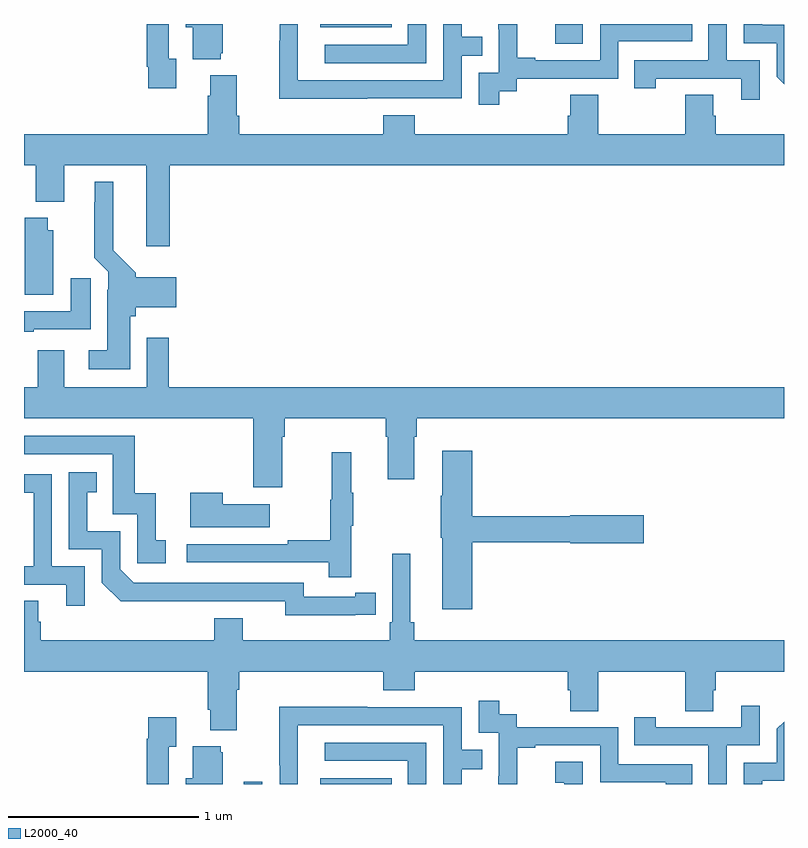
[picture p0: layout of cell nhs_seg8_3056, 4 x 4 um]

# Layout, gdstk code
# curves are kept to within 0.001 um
import gdstk
lib = gdstk.Library(unit=1e-6, precision=1e-09)
def R(c, l, rs):  # rectangles x0, y0, x1, y1
    for r in rs: c.add(gdstk.rectangle(r[:2], r[2:], *l))
def P(c, l, *ps):  # polygons
    for p in ps: c.add(gdstk.Polygon(p, *l))
L2000_40 = (2000, 40)

nhs_seg8_3056 = lib.new_cell('nhs_seg8_3056')
R(nhs_seg8_3056, L2000_40, [(302.157,1123.9,302.253,1123.912), (302.558,1123.9,302.936,1123.93), (303.795,1127.796,303.942,1127.9), (302.558,1127.882,302.936,1127.9)])
P(nhs_seg8_3056, L2000_40, [(305,1127.895),(304.885,1127.895),(304.885,1127.9),(304.788,1127.9),(304.788,1127.799),(304.962,1127.799),(304.962,1127.622),(305,1127.584)],
  [(303.117,1127.9),(303.021,1127.9),(303.021,1127.79),(302.583,1127.79),(302.583,1127.694),(303.117,1127.694)],
  [(302.036,1127.745),(302.047,1127.745),(302.047,1127.9),(301.85,1127.9),(301.85,1127.882),(301.889,1127.882),(301.889,1127.714),(302.036,1127.714)],
  [(303.502,1127.545),(303.594,1127.545),(303.594,1127.613),(304.128,1127.613),(304.128,1127.808),(304.517,1127.808),(304.517,1127.9),(304.032,1127.9),(304.032,1127.709),(303.691,1127.709),(303.691,1127.722),(303.596,1127.722),(303.596,1127.9),(303.497,1127.9),(303.497,1127.873),(303.498,1127.873),(303.498,1127.643),(303.393,1127.643),(303.393,1127.475),(303.502,1127.475)],
  [(304.872,1127.709),(304.698,1127.709),(304.698,1127.9),(304.602,1127.9),(304.602,1127.709),(304.213,1127.709),(304.213,1127.562),(304.324,1127.562),(304.324,1127.613),(304.775,1127.613),(304.775,1127.502),(304.872,1127.502)],
  [(302.807,1127.508),(303.303,1127.508),(303.303,1127.733),(303.413,1127.733),(303.413,1127.834),(303.303,1127.834),(303.303,1127.9),(303.207,1127.9),(303.207,1127.604),(302.442,1127.604),(302.442,1127.9),(302.346,1127.9),(302.346,1127.813),(302.344,1127.813),(302.344,1127.507),(302.807,1127.507)],
  [(301.801,1127.718),(301.761,1127.718),(301.761,1127.9),(301.645,1127.9),(301.645,1127.674),(301.653,1127.674),(301.653,1127.562),(301.801,1127.562)],
  [(301.766,1127.156),(305,1127.156),(305,1127.32),(304.64,1127.32),(304.64,1127.418),(304.627,1127.418),(304.627,1127.528),(304.48,1127.528),(304.48,1127.32),(304.023,1127.32),(304.023,1127.528),(303.875,1127.528),(303.875,1127.418),(303.863,1127.418),(303.863,1127.32),(303.056,1127.32),(303.056,1127.419),(302.891,1127.419),(302.891,1127.32),(302.132,1127.32),(302.132,1127.416),(302.119,1127.416),(302.119,1127.629),(301.979,1127.629),(301.979,1127.522),(301.967,1127.522),(301.967,1127.32),(301,1127.32),(301,1127.156),(301.061,1127.156),(301.061,1126.964),(301.213,1126.964),(301.213,1127.156),(301.643,1127.156),(301.643,1126.731),(301.766,1126.731)],
  [(301.558,1126.362),(301.589,1126.362),(301.589,1126.409),(301.801,1126.409),(301.801,1126.567),(301.589,1126.567),(301.589,1126.59),(301.471,1126.708),(301.471,1127.071),(301.373,1127.071),(301.373,1126.961),(301.369,1126.961),(301.369,1126.67),(301.443,1126.596),(301.443,1126.502),(301.439,1126.502),(301.439,1126.183),(301.341,1126.183),(301.341,1126.082),(301.558,1126.082)],
  [(301.153,1126.815),(301.126,1126.815),(301.126,1126.879),(301.004,1126.879),(301.004,1126.474),(301.153,1126.474)],
  [(301.051,1126.293),(301.351,1126.293),(301.351,1126.561),(301.247,1126.561),(301.247,1126.389),(301,1126.389),(301,1126.281),(301.051,1126.281)],
  [(302.359,1125.728),(302.372,1125.728),(302.372,1125.824),(302.903,1125.824),(302.903,1125.728),(302.915,1125.728),(302.915,1125.504),(303.055,1125.504),(303.055,1125.728),(303.068,1125.728),(303.068,1125.824),(305,1125.824),(305,1125.988),(301.763,1125.988),(301.763,1126.249),(301.647,1126.249),(301.647,1125.988),(301.213,1125.988),(301.213,1126.183),(301.073,1126.183),(301.073,1125.988),(301,1125.988),(301,1125.824),(302.207,1125.824),(302.207,1125.462),(302.359,1125.462)],
  [(301.747,1125.183),(301.694,1125.183),(301.694,1125.43),(301.583,1125.43),(301.583,1125.732),(301,1125.732),(301,1125.636),(301.467,1125.636),(301.467,1125.321),(301.596,1125.321),(301.596,1125.063),(301.747,1125.063)],
  [(303.359,1125.172),(303.876,1125.172),(303.876,1125.167),(304.261,1125.167),(304.261,1125.314),(303.876,1125.314),(303.876,1125.308),(303.359,1125.308),(303.359,1125.655),(303.2,1125.655),(303.2,1125.416),(303.193,1125.416),(303.193,1125.195),(303.2,1125.195),(303.2,1124.82),(303.359,1124.82)],
  [(302.723,1125.259),(302.734,1125.259),(302.734,1125.433),(302.723,1125.433),(302.723,1125.646),(302.62,1125.646),(302.62,1125.396),(302.613,1125.396),(302.613,1125.182),(302.389,1125.182),(302.389,1125.162),(301.857,1125.162),(301.857,1125.066),(302.605,1125.066),(302.605,1124.988),(302.723,1124.988)],
  [(302.744,1124.79),(302.852,1124.79),(302.852,1124.906),(302.744,1124.906),(302.744,1124.886),(302.472,1124.886),(302.472,1124.958),(301.578,1124.958),(301.506,1125.03),(301.506,1125.231),(301.333,1125.231),(301.333,1125.435),(301.382,1125.435),(301.382,1125.541),(301.236,1125.541),(301.236,1125.135),(301.41,1125.135),(301.41,1124.958),(301.508,1124.861),(302.376,1124.862),(302.376,1124.789)],
  [(301.32,1125.045),(301.146,1125.045),(301.146,1125.531),(301,1125.531),(301,1125.434),(301.05,1125.434),(301.05,1125.045),(301,1125.045),(301,1124.949),(301.223,1124.949),(301.223,1124.838),(301.32,1124.838)],
  [(302.293,1125.373),(302.045,1125.373),(302.045,1125.433),(301.874,1125.433),(301.874,1125.251),(302.293,1125.251)],
  [(302.119,1124.396),(302.132,1124.396),(302.132,1124.492),(302.891,1124.492),(302.891,1124.393),(303.056,1124.393),(303.056,1124.492),(303.863,1124.492),(303.863,1124.394),(303.875,1124.394),(303.875,1124.284),(304.023,1124.284),(304.023,1124.492),(304.48,1124.492),(304.48,1124.284),(304.627,1124.284),(304.627,1124.394),(304.64,1124.394),(304.64,1124.492),(305,1124.492),(305,1124.656),(303.053,1124.656),(303.053,1124.752),(303.034,1124.752),(303.034,1125.112),(302.937,1125.112),(302.937,1124.752),(302.924,1124.752),(302.924,1124.656),(302.152,1124.656),(302.152,1124.773),(302,1124.773),(302,1124.656),(301.088,1124.656),(301.088,1124.754),(301.075,1124.754),(301.075,1124.864),(301,1124.864),(301,1124.492),(301.967,1124.492),(301.967,1124.29),(301.979,1124.29),(301.979,1124.183),(302.119,1124.183)],
  [(303.596,1124.091),(303.691,1124.091),(303.691,1124.103),(304.032,1124.103),(304.032,1123.908),(304.377,1123.908),(304.377,1123.9),(304.517,1123.9),(304.517,1124.004),(304.128,1124.004),(304.128,1124.199),(303.594,1124.199),(303.594,1124.268),(303.502,1124.268),(303.502,1124.338),(303.393,1124.338),(303.393,1124.169),(303.498,1124.169),(303.498,1123.94),(303.497,1123.94),(303.497,1123.9),(303.596,1123.9)],
  [(304.698,1124.103),(304.872,1124.103),(304.872,1124.311),(304.775,1124.311),(304.775,1124.199),(304.324,1124.199),(304.324,1124.251),(304.213,1124.251),(304.213,1124.103),(304.602,1124.103),(304.602,1123.9),(304.698,1123.9)],
  [(302.442,1124.208),(303.207,1124.208),(303.207,1123.9),(303.303,1123.9),(303.303,1123.978),(303.413,1123.978),(303.413,1124.079),(303.303,1124.079),(303.303,1124.304),(302.807,1124.304),(302.807,1124.306),(302.344,1124.306),(302.344,1123.999),(302.346,1123.999),(302.346,1123.9),(302.442,1123.9)],
  [(301.761,1124.095),(301.801,1124.095),(301.801,1124.251),(301.653,1124.251),(301.653,1124.138),(301.645,1124.138),(301.645,1123.9),(301.761,1123.9)],
  [(304.885,1123.917),(305,1123.917),(305,1124.228),(304.962,1124.19),(304.962,1124.013),(304.788,1124.013),(304.788,1123.9),(304.885,1123.9)],
  [(303.117,1124.118),(302.583,1124.118),(302.583,1124.022),(303.021,1124.022),(303.021,1123.9),(303.117,1123.9)],
  [(302.047,1124.067),(302.036,1124.067),(302.036,1124.098),(301.889,1124.098),(301.889,1123.93),(301.85,1123.93),(301.85,1123.9),(302.047,1123.9)],
  [(303.942,1124.017),(303.795,1124.017),(303.795,1123.907),(303.844,1123.907),(303.844,1123.9),(303.942,1123.9)])

lib.write_gds('nhs_seg8_3056.gds')
